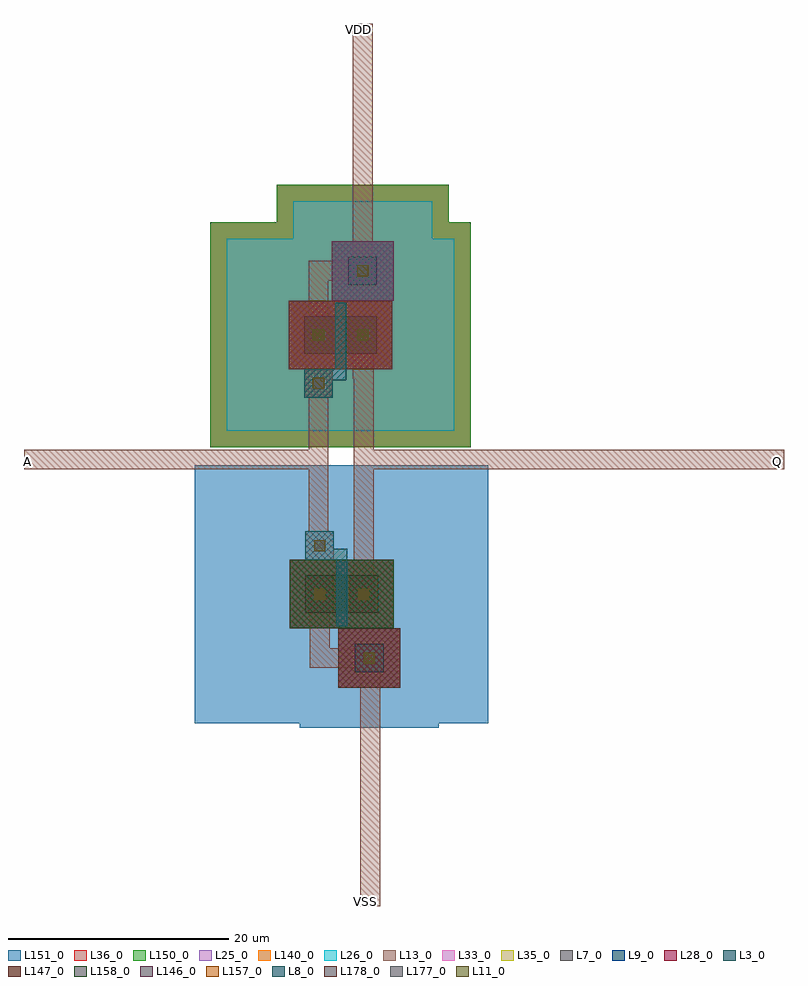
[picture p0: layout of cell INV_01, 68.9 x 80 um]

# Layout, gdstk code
import gdstk
lib = gdstk.Library(unit=1e-6, precision=1e-07)
def R(c, l, rs):  # rectangles x0, y0, x1, y1
    for r in rs: c.add(gdstk.rectangle(r[:2], r[2:], *l))
L3_0 = (3, 0)
L7_0 = (7, 0)
L8_0 = (8, 0)
L9_0 = (9, 0)
L11_0 = (11, 0)
L13_0 = (13, 0)
L25_0 = (25, 0)
L26_0 = (26, 0)
L28_0 = (28, 0)
L33_0 = (33, 0)
L35_0 = (35, 0)
L36_0 = (36, 0)
L140_0 = (140, 0)
L146_0 = (146, 0)
L147_0 = (147, 0)
L150_0 = (150, 0)
L151_0 = (151, 0)
L157_0 = (157, 0)
L158_0 = (158, 0)
L177_0 = (177, 0)
L178_0 = (178, 0)

dcont = lib.new_cell('dcont')
R(dcont, L3_0, [(-1.3,-1.3,1.3,1.3)])
R(dcont, L11_0, [(-0.5,-0.5,0.5,0.5)])
R(dcont, L13_0, [(-1.3,-1.3,1.3,1.3), (-0.5,-0.5,0.5,0.5)])

pcont = lib.new_cell('pcont')
R(pcont, L8_0, [(-1.3,-1.3,1.3,1.3)])
R(pcont, L11_0, [(-0.5,-0.5,0.5,0.5)])
R(pcont, L13_0, [(-1.3,-1.3,1.3,1.3), (-0.5,-0.5,0.5,0.5)])

c_dcont = lib.new_cell('DCONT')
R(c_dcont, L3_0, [(-1.3,-1.3,1.3,1.3)])
R(c_dcont, L11_0, [(-0.5,-0.5,0.5,0.5)])
R(c_dcont, L13_0, [(-1.3,-1.3,1.3,1.3), (-0.5,-0.5,0.5,0.5)])

psubcont = lib.new_cell('psubcont')
R(psubcont, L7_0, [(-2.8,-2.7,2.8,2.7)])
R(psubcont, L28_0, [(-2.8,-2.7,2.8,2.7)])
R(psubcont, L33_0, [(-2.8,-2.7,2.8,2.7)])
R(psubcont, L35_0, [(-2.8,-2.7,2.8,2.7)])
R(psubcont, L151_0, [(-6.3,-6.3,6.3,6.3)])
R(psubcont, L178_0, [(-2.8,-2.7,2.8,2.7)])
psubcont.add(gdstk.Reference(c_dcont, (0,0)))

mn_1 = lib.new_cell('MN$1')
R(mn_1, L3_0, [(0,3.6,6.6,7)])
R(mn_1, L9_0, [(-1.4,2.2,8,8.4)])
R(mn_1, L33_0, [(-1.4,2.2,8,8.4)])
R(mn_1, L35_0, [(-1.4,2.2,8,8.4)])
R(mn_1, L147_0, [(-1.4,2.2,8,8.4)])
R(mn_1, L151_0, [(-10,-6.4,16.6,17)])
R(mn_1, L158_0, [(-1.4,2.2,8,8.4)])
mn_1.add(gdstk.FlexPath([(1.3,3.6),(1.3,7)], 2.6, ends="flush", simple_path=True, layer=13, datatype=0))  # L13_0
mn_1.add(gdstk.FlexPath([(5.3,3.6),(5.3,7)], 2.6, ends="flush", simple_path=True, layer=13, datatype=0))  # L13_0
mn_1.add(gdstk.FlexPath([(1.3,1.3),(1.3,4.6)], 1.8, ends="flush", simple_path=True, layer=13, datatype=0))  # L13_0
mn_1.add(gdstk.FlexPath([(5.3,6),(5.3,9.3)], 1.8, ends="flush", simple_path=True, layer=13, datatype=0))  # L13_0
mn_1.add(gdstk.FlexPath([(3.3,3.6),(3.3,7)], 1, ends=(1.2, 1.2), simple_path=True, layer=8, datatype=0))  # L8_0
mn_1.add(gdstk.FlexPath([(1.3,8.9),(3.3,8.9),(3.3,8.2)], 1, ends="flush", simple_path=True, layer=8, datatype=0))  # L8_0
mn_1.add(gdstk.Reference(dcont, (1.3,5.3)))
mn_1.add(gdstk.Reference(dcont, (5.3,5.3)))
mn_1.add(gdstk.Reference(pcont, (1.3,9.7)))
mn_1.add(gdstk.Reference(psubcont, (5.8,-0.5)))

nsubcont = lib.new_cell('nsubcont')
R(nsubcont, L7_0, [(-2.8,-2.7,2.8,2.7)])
R(nsubcont, L9_0, [(-2.8,-2.7,2.8,2.7)])
R(nsubcont, L25_0, [(-6.3,-6.3,6.3,6.3)])
R(nsubcont, L26_0, [(-6.3,-6.3,6.3,6.3)])
R(nsubcont, L33_0, [(-2.8,-2.7,2.8,2.7)])
R(nsubcont, L35_0, [(-2.8,-2.7,2.8,2.7)])
R(nsubcont, L36_0, [(-7.8,-7.8,7.8,7.8)])
R(nsubcont, L140_0, [(-6.3,-6.3,6.3,6.3)])
R(nsubcont, L150_0, [(-7.8,-7.8,7.8,7.8)])
R(nsubcont, L177_0, [(-2.8,-2.7,2.8,2.7)])
nsubcont.add(gdstk.Reference(c_dcont, (0,0)))

mp_1 = lib.new_cell('MP$1')
R(mp_1, L3_0, [(0,3.6,6.6,7)])
R(mp_1, L7_0, [(-1.4,2.2,8,8.4)])
R(mp_1, L25_0, [(-7,-3.4,13.6,14)])
R(mp_1, L26_0, [(-7,-3.4,13.6,14)])
R(mp_1, L28_0, [(-1.4,2.2,8,8.4)])
R(mp_1, L33_0, [(-1.4,2.2,8,8.4)])
R(mp_1, L36_0, [(-8.5,-4.9,15.1,15.5)])
R(mp_1, L140_0, [(-7,-3.4,13.6,14)])
R(mp_1, L146_0, [(-1.4,2.2,8,8.4)])
R(mp_1, L150_0, [(-8.5,-4.9,15.1,15.5)])
R(mp_1, L157_0, [(-1.4,2.2,8,8.4)])
mp_1.add(gdstk.FlexPath([(1.3,3.6),(1.3,7)], 2.6, ends="flush", simple_path=True, layer=13, datatype=0))  # L13_0
mp_1.add(gdstk.FlexPath([(5.3,3.6),(5.3,7)], 2.6, ends="flush", simple_path=True, layer=13, datatype=0))  # L13_0
mp_1.add(gdstk.FlexPath([(1.3,6),(1.3,9.3)], 1.8, ends="flush", simple_path=True, layer=13, datatype=0))  # L13_0
mp_1.add(gdstk.FlexPath([(5.3,1.3),(5.3,4.6)], 1.8, ends="flush", simple_path=True, layer=13, datatype=0))  # L13_0
mp_1.add(gdstk.FlexPath([(3.3,3.6),(3.3,7)], 1, ends=(1.2, 1.2), simple_path=True, layer=8, datatype=0))  # L8_0
mp_1.add(gdstk.FlexPath([(1.3,1.7),(3.3,1.7),(3.3,2.4)], 1, ends="flush", simple_path=True, layer=8, datatype=0))  # L8_0
mp_1.add(gdstk.Reference(dcont, (1.3,5.3)))
mp_1.add(gdstk.Reference(dcont, (5.3,5.3)))
mp_1.add(gdstk.Reference(pcont, (1.3,0.9)))
mp_1.add(gdstk.Reference(nsubcont, (5.3,11.1)))

inv_01 = lib.new_cell('INV_01')
inv_01.add(gdstk.FlexPath([(24.1,42.6),(20.2,42.6),(20.2,36),(20.2,36)], 1.8, ends="flush", simple_path=True, layer=13, datatype=0))  # L13_0
inv_01.add(gdstk.FlexPath([(24.2,42.6),(24.2,65)], 1.8, ends="flush", simple_path=True, layer=13, datatype=0))  # L13_0
inv_01.add(gdstk.FlexPath([(20.2,32.4),(20.2,17.7),(21.1,17.7)], 1.8, ends="flush", simple_path=True, layer=13, datatype=0))  # L13_0
inv_01.add(gdstk.FlexPath([(20.2,25.5),(-6.5,25.5)], 1.8, ends="flush", simple_path=True, layer=13, datatype=0))  # L13_0
inv_01.add(gdstk.FlexPath([(24.3,13.2),(24.3,36.7),(24.3,36.7)], 1.8, ends="flush", simple_path=True, layer=13, datatype=0))  # L13_0
inv_01.add(gdstk.FlexPath([(24.2,25.5),(62.4,25.5)], 1.8, ends="flush", simple_path=True, layer=13, datatype=0))  # L13_0
inv_01.add(gdstk.FlexPath([(20.3,13.2),(20.3,7.5),(24.9,7.5),(24.9,-15),(24.9,-15)], 1.8, ends="flush", simple_path=True, layer=13, datatype=0))  # L13_0
inv_01.add(gdstk.Reference(mn_1, (19,8)))
inv_01.add(gdstk.Reference(mp_1, (18.9,31.5)))
inv_01.add(gdstk.Label('A', (-6.2,25.3), layer=13, texttype=0))
inv_01.add(gdstk.Label('VDD', (23.8,64.5), layer=13, texttype=0))
inv_01.add(gdstk.Label('VSS', (24.5,-14.6), layer=13, texttype=0))
inv_01.add(gdstk.Label('Q', (61.8,25.3), layer=13, texttype=0))

lib.write_gds('INV_01.gds')
